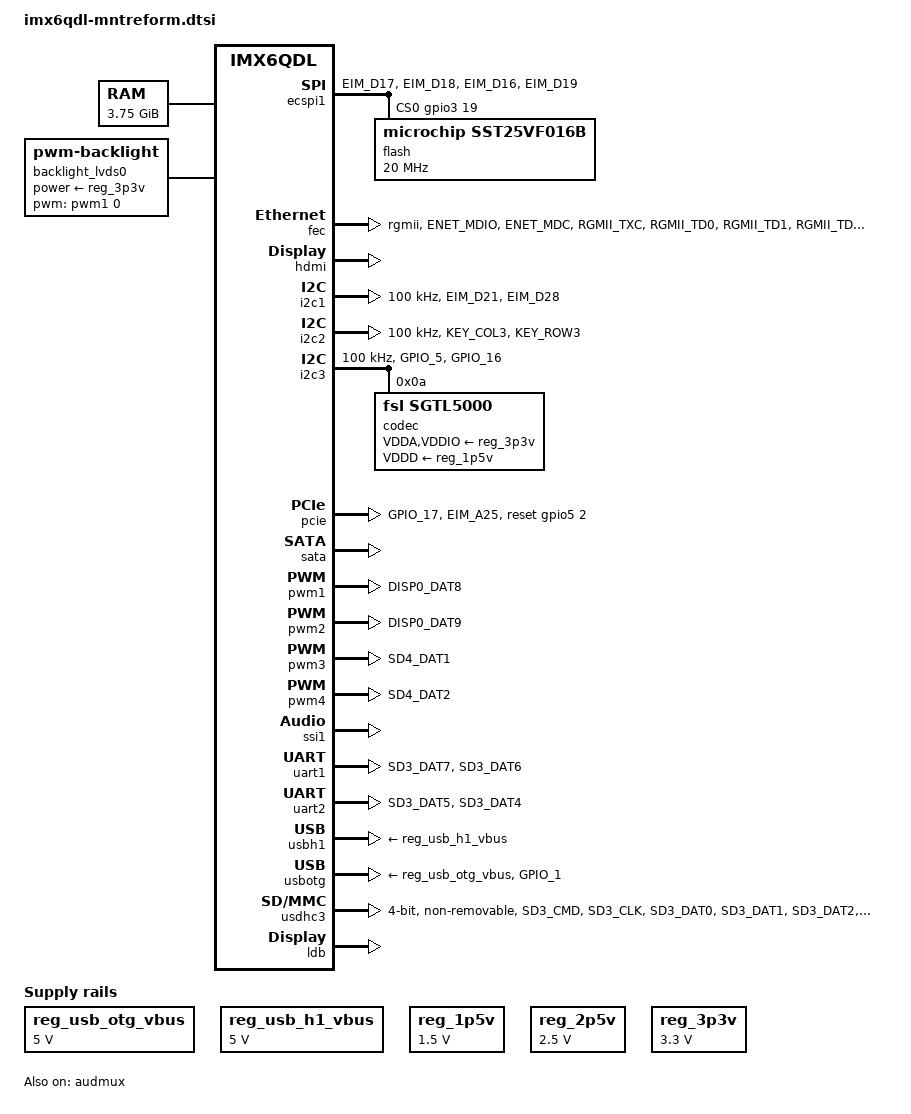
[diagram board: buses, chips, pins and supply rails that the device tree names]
/*
* Copyright 2018 MNT Media and Technology UG.
*
* This file is dual-licensed: you can use it either under the terms
* of the GPL or the X11 license, at your option. Note that this dual
* licensing only applies to this file, and not this project as a
* whole.
*
*	 a) This file is free software; you can redistribute it and/or
*			modify it under the terms of the GNU General Public License
*			version 2 as published by the Free Software Foundation.
*
*			This file is distributed in the hope that it will be useful,
*			but WITHOUT ANY WARRANTY; without even the implied warranty of
*			MERCHANTABILITY or FITNESS FOR A PARTICULAR PURPOSE.	See the
*			GNU General Public License for more details.
*
* Or, alternatively,
*
*	 b) Permission is hereby granted, free of charge, to any person
*			obtaining a copy of this software and associated documentation
*			files (the "Software"), to deal in the Software without
*			restriction, including without limitation the rights to use,
*			copy, modify, merge, publish, distribute, sublicense, and/or
*			sell copies of the Software, and to permit persons to whom the
*			Software is furnished to do so, subject to the following
*			conditions:
*
*			The above copyright notice and this permission notice shall be
*			included in all copies or substantial portions of the Software.
*
*			THE SOFTWARE IS PROVIDED "AS IS", WITHOUT WARRANTY OF ANY KIND,
*			EXPRESS OR IMPLIED, INCLUDING BUT NOT LIMITED TO THE WARRANTIES
*			OF MERCHANTABILITY, FITNESS FOR A PARTICULAR PURPOSE AND
*			NONINFRINGEMENT. IN NO EVENT SHALL THE AUTHORS OR COPYRIGHT
*			HOLDERS BE LIABLE FOR ANY CLAIM, DAMAGES OR OTHER LIABILITY,
*			WHETHER IN AN ACTION OF CONTRACT, TORT OR OTHERWISE, ARISING
*			FROM, OUT OF OR IN CONNECTION WITH THE SOFTWARE OR THE USE OR
*			OTHER DEALINGS IN THE SOFTWARE.
*/
#include <dt-bindings/gpio/gpio.h>
#include <dt-bindings/input/input.h>

/ {
	chosen {
		stdout-path = &uart1;
	};

	memory {
		reg = <0x10000000 0xf0000000>;
	};

	regulators {
		compatible = "simple-bus";
		#address-cells = <1>;
		#size-cells = <0>;

		reg_usb_otg_vbus: regulator@0 {
			compatible = "regulator-fixed";
			reg = <0>;
			regulator-name = "usb_otg_vbus";
			regulator-min-microvolt = <5000000>;
			regulator-max-microvolt = <5000000>;
			regulator-always-on;
			enable-active-high;
		};

		reg_usb_h1_vbus: regulator@1 {
			compatible = "regulator-fixed";
			reg = <1>;
			regulator-name = "usb_h1_vbus";
			regulator-min-microvolt = <5000000>;
			regulator-max-microvolt = <5000000>;
			regulator-always-on;
			enable-active-high;
		};

		reg_1p5v: regulator@2 {
			compatible = "regulator-fixed";
			reg = <2>;
			regulator-name = "1P5V";
			regulator-min-microvolt = <1500000>;
			regulator-max-microvolt = <1500000>;
			regulator-always-on;
		};

		reg_2p5v: regulator@3 {
			compatible = "regulator-fixed";
			reg = <3>;
			regulator-name = "2P5V";
			regulator-min-microvolt = <2500000>;
			regulator-max-microvolt = <2500000>;
			regulator-always-on;
		};

		reg_3p3v: regulator@4 {
			compatible = "regulator-fixed";
			reg = <4>;
			regulator-name = "3P3V";
			regulator-min-microvolt = <3300000>;
			regulator-max-microvolt = <3300000>;
			regulator-always-on;
		};
	};

	leds {
		compatible = "gpio-leds";
	};

	sound {
		compatible = "fsl,sgtl5000",
		"fsl,imx-audio-sgtl5000";
		model = "imx6qp-mntreform-sgtl5000";
		ssi-controller = <&ssi1>;
		audio-codec = <&codec>;
		audio-routing =
		"MIC_IN", "Mic Jack",
		"Mic Jack", "Mic Bias",
		"Headphone Jack", "HP_OUT";
		//micbias-resistor-k-ohms = <2>;
		//micbias-voltage-m-volts = <2250>;
		//clocks = <&clks 150>;
		mux-int-port = <1>;
		mux-ext-port = <4>;
		lrclk-strength = <3>;
	};

	backlight_lvds0: backlight-lvds0 {
		compatible = "pwm-backlight";
		pwms = <&pwm1 0 5000000>;
		brightness-levels = <0 4 8 16 32 64 128 255>;
		default-brightness-level = <4>;
		power-supply = <&reg_3p3v>;
		status = "okay";
	};
};

&audmux {
	pinctrl-names = "default";
	pinctrl-0 = <&pinctrl_audmux>;
	status = "okay";
};

/* 
The following clocks can be the parent of ldb_di_sel clock:
 { "pll5_video_div", "pll2_pfd0_352m", "pll2_pfd2_396m", "mmdc_ch1_axi", "pll3_usb_otg", };
See: https://community.nxp.com/thread/306801
*/

&clks {
	assigned-clocks = <&clks IMX6QDL_CLK_LDB_DI0_SEL>, <&clks IMX6QDL_CLK_LDB_DI1_SEL>;
	assigned-clock-parents = <&clks IMX6QDL_CLK_PLL2_PFD2_396M>, <&clks IMX6QDL_CLK_PLL2_PFD2_396M>;
};

&ecspi1 {
	cs-gpios = <&gpio3 19 GPIO_ACTIVE_HIGH>;
	pinctrl-names = "default";
	pinctrl-0 = <&pinctrl_ecspi1>;
	status = "okay";

	flash: m25p80@0 {
		compatible = "microchip,sst25vf016b";
		spi-max-frequency = <20000000>;
		reg = <0>;
	};
};

&fec {
	pinctrl-names = "default";
	pinctrl-0 = <&pinctrl_enet>;
	phy-mode = "rgmii";
	phy-reset-gpios = <&gpio1 25 GPIO_ACTIVE_LOW>;
	fsl,magic-packet;
	status = "okay";
};

/*
 * Copied from imx6q-utilite-pro.dts: forces HDMI to IPU2
 */
/delete-node/&ipu1_di0_hdmi;
/delete-node/&hdmi_mux_0;
/delete-node/&ipu1_di1_hdmi;
/delete-node/&hdmi_mux_1;

&hdmi {
	ddc-i2c-bus = <&i2c1>;
	status = "okay";
};

&i2c1 {
	clock-frequency = <100000>;
	pinctrl-names = "default";
	pinctrl-0 = <&pinctrl_i2c1>;
	status = "okay";
};

&i2c2 {
	clock-frequency = <100000>;
	pinctrl-names = "default";
	pinctrl-0 = <&pinctrl_i2c2>;
	status = "okay";
};

&i2c3 {
	clock-frequency = <100000>;
	pinctrl-names = "default";
	pinctrl-0 = <&pinctrl_i2c3>;
	status = "okay";

	codec: sgtl5000@0a {
		compatible = "fsl,sgtl5000";
		reg = <0x0a>;
		clocks = <&clks IMX6QDL_CLK_CKO>;
		VDDA-supply = <&reg_3p3v>;
		VDDIO-supply = <&reg_3p3v>;
		VDDD-supply = <&reg_1p5v>;
	};
};

&iomuxc {
	mntreform {
		pinctrl_hog: hoggrp {
			fsl,pins = <
			MX6QDL_PAD_KEY_ROW4__GPIO4_IO15		0x80000000 /* USB0 Pwr */
			MX6QDL_PAD_GPIO_4__GPIO1_IO04			0x80000000 /* USB1 Pwr */

			// tinyrex stuff
			MX6QDL_PAD_NANDF_CS2__GPIO6_IO15	0x80000000 /* CPU Gpio 0 */
			MX6QDL_PAD_EIM_D22__GPIO3_IO22		0x80000000 /* CPU Gpio 1 */
			>;
		};

		pinctrl_audmux: audmuxgrp {
			fsl,pins = <
			MX6QDL_PAD_SD2_DAT0__AUD4_RXD		0x130b0
			MX6QDL_PAD_SD2_DAT3__AUD4_TXC		0x130b0
			MX6QDL_PAD_SD2_DAT2__AUD4_TXD		0x110b0
			MX6QDL_PAD_SD2_DAT1__AUD4_TXFS	0x130b0
			MX6QDL_PAD_GPIO_0__CCM_CLKO1		0x130b0 /* AUD4_MCK */
			>;
		};

		pinctrl_ecspi1: ecspi1grp {
			fsl,pins = <
			MX6QDL_PAD_EIM_D17__ECSPI1_MISO		0x100b1
			MX6QDL_PAD_EIM_D18__ECSPI1_MOSI		0x100b1
			MX6QDL_PAD_EIM_D16__ECSPI1_SCLK		0x100b1
			MX6QDL_PAD_EIM_D19__GPIO3_IO19		0x000b1
			>;
		};

		pinctrl_enet: enetgrp {
			fsl,pins = <
			MX6QDL_PAD_ENET_MDIO__ENET_MDIO		0x0001b0b0
			MX6QDL_PAD_ENET_MDC__ENET_MDC		0x0001b0b0
			MX6QDL_PAD_RGMII_TXC__RGMII_TXC		0x0001b0b0
			MX6QDL_PAD_RGMII_TD0__RGMII_TD0		0x0001b0b0
			MX6QDL_PAD_RGMII_TD1__RGMII_TD1		0x0001b0b0
			MX6QDL_PAD_RGMII_TD2__RGMII_TD2		0x0001b0b0
			MX6QDL_PAD_RGMII_TD3__RGMII_TD3		0x0001b0b0
			MX6QDL_PAD_RGMII_TX_CTL__RGMII_TX_CTL	0x0001b0b0
			MX6QDL_PAD_ENET_REF_CLK__ENET_TX_CLK	0x0001b0b0
			MX6QDL_PAD_RGMII_RXC__RGMII_RXC		0x0001b0b0
			MX6QDL_PAD_RGMII_RD0__RGMII_RD0		0x0001b0b0
			MX6QDL_PAD_RGMII_RD1__RGMII_RD1		0x0001b0b0
			MX6QDL_PAD_RGMII_RD2__RGMII_RD2		0x0001b0b0
			MX6QDL_PAD_RGMII_RD3__RGMII_RD3		0x0001b0b0
			MX6QDL_PAD_RGMII_RX_CTL__RGMII_RX_CTL	0x0001b0b0
			MX6QDL_PAD_ENET_TX_EN__GPIO1_IO28	0x80000000 /* PHY Int */
			MX6QDL_PAD_ENET_RXD1__GPIO1_IO26	0x80000000 /* PHY Int */
			MX6QDL_PAD_ENET_CRS_DV__GPIO1_IO25	0x00000831 /* PHY Reset */
			>;
		};

		pinctrl_i2c1: i2c1grp {
			fsl,pins = <
			MX6QDL_PAD_EIM_D21__I2C1_SCL	0x4001b8b1
			MX6QDL_PAD_EIM_D28__I2C1_SDA	0x4001b8b1
			>;
		};

		pinctrl_i2c2: i2c2grp {
			fsl,pins = <
			MX6QDL_PAD_KEY_COL3__I2C2_SCL	0x4001b8b1
			MX6QDL_PAD_KEY_ROW3__I2C2_SDA	0x4001b8b1
			>;
		};

		pinctrl_i2c3: i2c3grp {
			fsl,pins = <
			MX6QDL_PAD_GPIO_5__I2C3_SCL	0x4001b8b1
			MX6QDL_PAD_GPIO_16__I2C3_SDA	0x4001b8b1
			>;
		};

		pinctrl_pcie: pciegrp {
			fsl,pins = <
			MX6QDL_PAD_GPIO_17__GPIO7_IO12	 	0x80000000 /* Wake */
			MX6QDL_PAD_EIM_A25__GPIO5_IO02		0x80000000 /* Reset */
			>;
		};

		pinctrl_lvds: lvdsgrp {
			fsl,pins = <
			MX6QDL_PAD_GPIO_6__GPIO1_IO06						0x80000000 /* LVDS CABC */
			MX6QDL_PAD_DISP0_DAT21__GPIO5_IO15			0x80000000 /* LVDS Pwm */
			>;
		};

		pinctrl_pwm1: pwm1grp {
			fsl,pins = <
			MX6QDL_PAD_DISP0_DAT8__PWM1_OUT					0x0001b0b1
			>;
		};

		pinctrl_pwm2: pwm2grp {
			fsl,pins = <
			MX6QDL_PAD_DISP0_DAT9__PWM2_OUT					0x0001b0b1
			>;
		};

		pinctrl_pwm3: pwm3grp {
			fsl,pins = <
			MX6QDL_PAD_SD4_DAT1__PWM3_OUT					0x0001b0b1
			>;
		};

		pinctrl_pwm4: pwm4grp {
			fsl,pins = <
			MX6QDL_PAD_SD4_DAT2__PWM4_OUT					0x0001b0b1
			>;
		};

		pinctrl_uart1: uart1grp {
			fsl,pins = <
			MX6QDL_PAD_SD3_DAT7__UART1_TX_DATA	0x1b0b1
			MX6QDL_PAD_SD3_DAT6__UART1_RX_DATA	0x1b0b1
			>;
		};

		pinctrl_uart2: uart2grp {
			fsl,pins = <
			MX6QDL_PAD_SD3_DAT5__UART2_TX_DATA	0x1b0b1
			MX6QDL_PAD_SD3_DAT4__UART2_RX_DATA	0x1b0b1
			>;
		};

		pinctrl_usbotg: usbotggrp {
			fsl,pins = <
			MX6QDL_PAD_GPIO_1__USB_OTG_ID		0x17059
			>;
		};

		pinctrl_usdhc3: usdhc3grp {
			fsl,pins = <
			MX6QDL_PAD_SD3_CMD__SD3_CMD		0x00017059
			MX6QDL_PAD_SD3_CLK__SD3_CLK		0x00010059
			MX6QDL_PAD_SD3_DAT0__SD3_DATA0		0x00017059
			MX6QDL_PAD_SD3_DAT1__SD3_DATA1		0x00017059
			MX6QDL_PAD_SD3_DAT2__SD3_DATA2		0x00017059
			MX6QDL_PAD_SD3_DAT3__SD3_DATA3		0x00017059
			MX6QDL_PAD_SD3_RST__GPIO7_IO08		0x80000000 /* CD */
			MX6QDL_PAD_NANDF_CS3__GPIO6_IO16	0x80000000 /* WP */
			>;
		};
	};
};

&pcie {
	pinctrl-names = "default";
	pinctrl-0 = <&pinctrl_pcie>;
	reset-gpio = <&gpio5 2 0>;
	status = "okay";
};

&sata {
	status = "okay";
};

&pwm1 {
	pinctrl-names = "default";
	pinctrl-0 = <&pinctrl_pwm1>;
	status = "okay";
};

&pwm2 {
	pinctrl-names = "default";
	pinctrl-0 = <&pinctrl_pwm2>;
	status = "okay";
};

&pwm3 {
	pinctrl-names = "default";
	pinctrl-0 = <&pinctrl_pwm3>;
	status = "okay";
};

&pwm4 {
	pinctrl-names = "default";
	pinctrl-0 = <&pinctrl_pwm4>;
	status = "okay";
};

&ssi1 {
	status = "okay";
};

&uart1 {
	pinctrl-names = "default";
	pinctrl-0 = <&pinctrl_uart1>;
	status = "okay";
};

&uart2 {
	pinctrl-names = "default";
	pinctrl-0 = <&pinctrl_uart2>;
	status = "okay";
};

&usbh1 {
	vbus-supply = <&reg_usb_h1_vbus>;
	status = "okay";
};

&usbotg {
	vbus-supply = <&reg_usb_otg_vbus>;
	pinctrl-names = "default";
	pinctrl-0 = <&pinctrl_usbotg>;
	disable-over-current;
	srp-disable;
	hnp-disable;
	adp-disable;
	status = "okay";
};

&usbphy1 {
	tx-d-cal = <0x5>;
};

&usbphy2 {
	tx-d-cal = <0x5>;
};

&usdhc3 {
	pinctrl-names = "default";
	pinctrl-0 = <&pinctrl_usdhc3>;
	bus-width = <4>;
	cd-gpios = <&gpio7 8 GPIO_ACTIVE_HIGH>;
	wp-gpios = <&gpio6 16 GPIO_ACTIVE_LOW>;
	non-removable;
	no-1-8-v;
	keep-power-in-suspend;
	status = "okay";
	//wp-inverted;
};

&ldb {
	status = "okay";
	lvds-channel@0 {
		status = "ok";
		fsl,data-width = <18>;
		fsl,data-mapping = "spwg";

		display-timings {
			native-mode = <&timing0>;
			timing0: 1366x768 {
				clock-frequency = <70000000>;
				hactive = <1368>; /* or fb0 doesn't work on imx-drm */
				vactive = <768>;
				hback-porch = <84>;
				hfront-porch = <36>;
				vback-porch = <14>;
				vfront-porch = <3>;
				hsync-len = <40>;
				vsync-len = <5>;
			};
		};
	};
};
